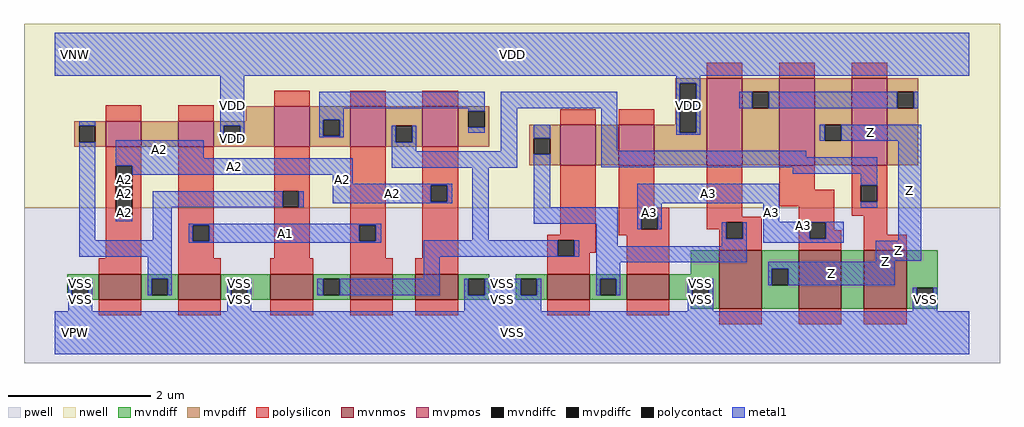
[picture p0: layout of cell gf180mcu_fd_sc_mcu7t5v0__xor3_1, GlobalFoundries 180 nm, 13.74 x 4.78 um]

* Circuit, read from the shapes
.subckt gf180mcu_fd_sc_mcu7t5v0__xor3_1 A1 A2 A3 Z VDD VNW VPW VSS
XM1 n1 A2 VSS VPW nfet_06v0 w=0.36u l=0.6u
XM2 VSS A1 n1 VPW nfet_06v0 w=0.36u l=0.6u
XM3 n2 n1 VSS VPW nfet_06v0 w=0.36u l=0.6u
XM4 n3 A1 n2 VPW nfet_06v0 w=0.36u l=0.6u
XM5 VSS A2 n3 VPW nfet_06v0 w=0.36u l=0.6u
XM6 n4 n2 VSS VPW nfet_06v0 w=0.36u l=0.6u
XM7 VSS A3 n4 VPW nfet_06v0 w=0.36u l=0.6u
XM8 Z n4 VSS VPW nfet_06v0 w=0.82u l=0.6u
XM9 n5 A3 Z VPW nfet_06v0 w=0.82u l=0.6u
XM10 VSS n2 n5 VPW nfet_06v0 w=0.82u l=0.6u
XM11 n6 A2 n1 VNW pfet_06v0 w=0.36u l=0.5u
XM12 VDD A1 n6 VNW pfet_06v0 w=0.36u l=0.5u
XM13 n7 n1 VDD VNW pfet_06v0 w=0.565u l=0.5u
XM14 n2 A1 n7 VNW pfet_06v0 w=0.565u l=0.5u
XM15 n7 A2 n2 VNW pfet_06v0 w=0.565u l=0.5u
XM16 n8 n2 n4 VNW pfet_06v0 w=0.565u l=0.5u
XM17 VDD A3 n8 VNW pfet_06v0 w=0.565u l=0.5u
XM18 n9 n4 VDD VNW pfet_06v0 w=1.22u l=0.5u
XM19 Z A3 n9 VNW pfet_06v0 w=1.22u l=0.5u
XM20 n9 n2 Z VNW pfet_06v0 w=1.22u l=0.5u
.ends

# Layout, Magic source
magic
tech gf180mcuD
magscale 1 10
<< nwell >>
rect -86 352 2662 870
<< pwell >>
rect -86 -86 2662 352
<< mvnmos >>
rect 124 93 244 165
rect 348 93 468 165
rect 608 93 728 165
rect 832 93 952 165
rect 1016 93 1136 165
rect 1387 93 1507 165
rect 1611 93 1731 165
rect 1871 68 1991 232
rect 2095 68 2215 232
rect 2279 68 2399 232
<< mvpmos >>
rect 144 524 244 596
rect 348 524 448 596
rect 618 524 718 637
rect 832 524 932 637
rect 1036 524 1136 637
rect 1424 472 1524 585
rect 1588 472 1688 585
rect 1836 472 1936 716
rect 2040 472 2140 716
rect 2244 472 2344 716
<< mvndiff >>
rect 1791 165 1871 232
rect 36 152 124 165
rect 36 106 49 152
rect 95 106 124 152
rect 36 93 124 106
rect 244 152 348 165
rect 244 106 273 152
rect 319 106 348 152
rect 244 93 348 106
rect 468 152 608 165
rect 468 106 497 152
rect 543 106 608 152
rect 468 93 608 106
rect 728 152 832 165
rect 728 106 757 152
rect 803 106 832 152
rect 728 93 832 106
rect 952 93 1016 165
rect 1136 152 1224 165
rect 1136 106 1165 152
rect 1211 106 1224 152
rect 1136 93 1224 106
rect 1299 152 1387 165
rect 1299 106 1312 152
rect 1358 106 1387 152
rect 1299 93 1387 106
rect 1507 152 1611 165
rect 1507 106 1536 152
rect 1582 106 1611 152
rect 1507 93 1611 106
rect 1731 152 1871 165
rect 1731 106 1796 152
rect 1842 106 1871 152
rect 1731 93 1871 106
rect 1791 68 1871 93
rect 1991 180 2095 232
rect 1991 134 2020 180
rect 2066 134 2095 180
rect 1991 68 2095 134
rect 2215 68 2279 232
rect 2399 127 2487 232
rect 2399 81 2428 127
rect 2474 81 2487 127
rect 2399 68 2487 81
<< mvpdiff >>
rect 1748 703 1836 716
rect 538 596 618 637
rect 56 583 144 596
rect 56 537 69 583
rect 115 537 144 583
rect 56 524 144 537
rect 244 524 348 596
rect 448 583 618 596
rect 448 537 477 583
rect 523 537 618 583
rect 448 524 618 537
rect 718 600 832 637
rect 718 554 757 600
rect 803 554 832 600
rect 718 524 832 554
rect 932 583 1036 637
rect 932 537 961 583
rect 1007 537 1036 583
rect 932 524 1036 537
rect 1136 624 1224 637
rect 1136 578 1165 624
rect 1211 578 1224 624
rect 1748 585 1761 703
rect 1136 524 1224 578
rect 1336 548 1424 585
rect 1336 502 1349 548
rect 1395 502 1424 548
rect 1336 472 1424 502
rect 1524 472 1588 585
rect 1688 563 1761 585
rect 1807 563 1836 703
rect 1688 472 1836 563
rect 1936 678 2040 716
rect 1936 632 1965 678
rect 2011 632 2040 678
rect 1936 472 2040 632
rect 2140 586 2244 716
rect 2140 540 2169 586
rect 2215 540 2244 586
rect 2140 472 2244 540
rect 2344 678 2432 716
rect 2344 632 2373 678
rect 2419 632 2432 678
rect 2344 472 2432 632
<< mvndiffc >>
rect 49 106 95 152
rect 273 106 319 152
rect 497 106 543 152
rect 757 106 803 152
rect 1165 106 1211 152
rect 1312 106 1358 152
rect 1536 106 1582 152
rect 1796 106 1842 152
rect 2020 134 2066 180
rect 2428 81 2474 127
<< mvpdiffc >>
rect 69 537 115 583
rect 477 537 523 583
rect 757 554 803 600
rect 961 537 1007 583
rect 1165 578 1211 624
rect 1349 502 1395 548
rect 1761 563 1807 703
rect 1965 632 2011 678
rect 2169 540 2215 586
rect 2373 632 2419 678
<< polysilicon >>
rect 1836 716 1936 760
rect 2040 716 2140 760
rect 2244 716 2344 760
rect 144 596 244 640
rect 348 596 448 640
rect 618 637 718 681
rect 832 637 932 681
rect 1036 637 1136 681
rect 1424 585 1524 629
rect 1588 585 1688 629
rect 144 470 244 524
rect 144 329 173 470
rect 219 329 244 470
rect 144 209 244 329
rect 124 165 244 209
rect 348 303 448 524
rect 348 257 389 303
rect 435 257 448 303
rect 348 209 448 257
rect 618 399 718 524
rect 618 353 642 399
rect 688 353 718 399
rect 618 209 718 353
rect 832 303 932 524
rect 832 257 858 303
rect 904 257 932 303
rect 832 209 932 257
rect 1036 415 1136 524
rect 1036 369 1059 415
rect 1105 369 1136 415
rect 1036 209 1136 369
rect 1424 276 1524 472
rect 348 165 468 209
rect 608 165 728 209
rect 832 165 952 209
rect 1016 165 1136 209
rect 1387 261 1524 276
rect 1588 352 1688 472
rect 1588 337 1731 352
rect 1588 291 1652 337
rect 1698 291 1731 337
rect 1836 326 1936 472
rect 2040 402 2140 472
rect 2244 415 2344 472
rect 2040 356 2195 402
rect 1836 311 1991 326
rect 1836 292 1891 311
rect 1588 275 1731 291
rect 1387 215 1417 261
rect 1463 225 1524 261
rect 1463 215 1507 225
rect 1387 165 1507 215
rect 1611 165 1731 275
rect 1871 265 1891 292
rect 1937 265 1991 311
rect 1871 232 1991 265
rect 2095 311 2195 356
rect 2244 369 2270 415
rect 2316 369 2344 415
rect 2244 330 2344 369
rect 2095 265 2126 311
rect 2172 288 2195 311
rect 2172 265 2215 288
rect 2095 232 2215 265
rect 2279 276 2344 330
rect 2279 232 2399 276
rect 124 49 244 93
rect 348 49 468 93
rect 608 49 728 93
rect 832 49 952 93
rect 1016 49 1136 93
rect 1387 49 1507 93
rect 1611 49 1731 93
rect 1871 24 1991 68
rect 2095 24 2215 68
rect 2279 24 2399 68
<< polycontact >>
rect 173 329 219 470
rect 389 257 435 303
rect 642 353 688 399
rect 858 257 904 303
rect 1059 369 1105 415
rect 1652 291 1698 337
rect 1417 215 1463 261
rect 1891 265 1937 311
rect 2270 369 2316 415
rect 2126 265 2172 311
<< metal1 >>
rect 0 724 2576 844
rect 69 583 115 596
rect 466 583 534 724
rect 1750 703 1818 724
rect 69 261 115 537
rect 173 491 420 542
rect 466 537 477 583
rect 523 537 534 583
rect 746 632 1211 678
rect 746 600 814 632
rect 746 554 757 600
rect 803 554 814 600
rect 1165 624 1211 632
rect 746 551 814 554
rect 950 537 961 583
rect 1007 537 1018 583
rect 1165 563 1211 578
rect 1257 632 1585 678
rect 950 511 1018 537
rect 1257 511 1303 632
rect 173 470 839 491
rect 219 445 839 470
rect 950 465 1303 511
rect 1349 548 1395 585
rect 783 419 839 445
rect 783 415 1120 419
rect 173 314 219 329
rect 277 353 642 399
rect 688 353 702 399
rect 783 369 1059 415
rect 1105 369 1120 415
rect 783 364 1120 369
rect 277 261 330 353
rect 69 214 330 261
rect 378 303 920 307
rect 378 257 389 303
rect 435 257 858 303
rect 904 257 920 303
rect 1176 261 1222 465
rect 1349 353 1395 502
rect 1539 512 1585 632
rect 1750 563 1761 703
rect 1807 563 1818 703
rect 1928 632 1965 678
rect 2011 632 2373 678
rect 2419 632 2432 678
rect 1750 558 1818 563
rect 2154 540 2169 586
rect 2215 540 2440 586
rect 1539 494 2117 512
rect 1539 466 2317 494
rect 2079 448 2317 466
rect 1641 365 2041 420
rect 1349 307 1586 353
rect 378 253 920 257
rect 262 152 330 214
rect 1039 215 1417 261
rect 1463 215 1478 261
rect 1039 214 1478 215
rect 1525 244 1586 307
rect 1641 337 1709 365
rect 1641 291 1652 337
rect 1698 291 1709 337
rect 1995 312 2041 365
rect 2270 415 2317 448
rect 2316 369 2317 415
rect 2270 352 2317 369
rect 1995 311 2222 312
rect 1879 265 1891 311
rect 1937 265 1949 311
rect 1879 244 1949 265
rect 1995 265 2126 311
rect 2172 265 2222 311
rect 1995 253 2222 265
rect 2376 259 2440 540
rect 1039 152 1085 214
rect 1525 198 1949 244
rect 2312 203 2440 259
rect 2312 200 2366 203
rect 1525 152 1593 198
rect 2009 180 2366 200
rect 38 106 49 152
rect 95 106 106 152
rect 262 106 273 152
rect 319 106 330 152
rect 486 106 497 152
rect 543 106 554 152
rect 740 106 757 152
rect 803 106 1085 152
rect 1154 106 1165 152
rect 1211 106 1312 152
rect 1358 106 1370 152
rect 1525 106 1536 152
rect 1582 106 1593 152
rect 1783 106 1796 152
rect 1842 106 1855 152
rect 2009 134 2020 180
rect 2066 134 2366 180
rect 38 60 106 106
rect 486 60 554 106
rect 1154 60 1370 106
rect 1783 60 1855 106
rect 2417 81 2428 127
rect 2474 81 2485 127
rect 2417 60 2485 81
rect 0 -60 2576 60
<< labels >>
flabel metal1 s 1641 365 2041 420 0 FreeSans 400 0 0 0 A3
port 3 nsew default input
flabel metal1 s 0 724 2576 844 0 FreeSans 400 0 0 0 VDD
port 5 nsew power bidirectional abutment
flabel metal1 s 1783 127 1855 152 0 FreeSans 400 0 0 0 VSS
port 8 nsew ground bidirectional abutment
flabel metal1 s 2154 540 2440 586 0 FreeSans 400 0 0 0 Z
port 4 nsew default output
flabel metal1 s 378 253 920 307 0 FreeSans 400 0 0 0 A1
port 1 nsew default input
flabel metal1 s 173 491 420 542 0 FreeSans 400 0 0 0 A2
port 2 nsew default input
flabel nwell s 10 734 110 834 0 FreeSans 400 0 0 0 VNW
port 6 nsew power bidirectional
flabel pwell s 10 -50 110 50 0 FreeSans 400 0 0 0 VPW
port 7 nsew ground bidirectional
rlabel metal1 s 173 445 839 491 1 A2
port 2 nsew default input
rlabel metal1 s 783 419 839 445 1 A2
port 2 nsew default input
rlabel metal1 s 173 419 219 445 1 A2
port 2 nsew default input
rlabel metal1 s 783 364 1120 419 1 A2
port 2 nsew default input
rlabel metal1 s 173 364 219 419 1 A2
port 2 nsew default input
rlabel metal1 s 173 314 219 364 1 A2
port 2 nsew default input
rlabel metal1 s 1995 312 2041 365 1 A3
port 3 nsew default input
rlabel metal1 s 1641 312 1709 365 1 A3
port 3 nsew default input
rlabel metal1 s 1995 291 2222 312 1 A3
port 3 nsew default input
rlabel metal1 s 1641 291 1709 312 1 A3
port 3 nsew default input
rlabel metal1 s 1995 253 2222 291 1 A3
port 3 nsew default input
rlabel metal1 s 2376 259 2440 540 1 Z
port 4 nsew default output
rlabel metal1 s 2312 203 2440 259 1 Z
port 4 nsew default output
rlabel metal1 s 2312 200 2366 203 1 Z
port 4 nsew default output
rlabel metal1 s 2009 134 2366 200 1 Z
port 4 nsew default output
rlabel metal1 s 1750 558 1818 724 1 VDD
port 5 nsew power bidirectional abutment
rlabel metal1 s 466 558 534 724 1 VDD
port 5 nsew power bidirectional abutment
rlabel metal1 s 466 537 534 558 1 VDD
port 5 nsew power bidirectional abutment
rlabel metal1 s 1154 127 1370 152 1 VSS
port 8 nsew ground bidirectional abutment
rlabel metal1 s 486 127 554 152 1 VSS
port 8 nsew ground bidirectional abutment
rlabel metal1 s 38 127 106 152 1 VSS
port 8 nsew ground bidirectional abutment
rlabel metal1 s 2417 60 2485 127 1 VSS
port 8 nsew ground bidirectional abutment
rlabel metal1 s 1783 60 1855 127 1 VSS
port 8 nsew ground bidirectional abutment
rlabel metal1 s 1154 60 1370 127 1 VSS
port 8 nsew ground bidirectional abutment
rlabel metal1 s 486 60 554 127 1 VSS
port 8 nsew ground bidirectional abutment
rlabel metal1 s 38 60 106 127 1 VSS
port 8 nsew ground bidirectional abutment
rlabel metal1 s 0 -60 2576 60 1 VSS
port 8 nsew ground bidirectional abutment
<< properties >>
string FIXED_BBOX 0 0 2576 784
string GDS_END 377154
string GDS_FILE $PDKPATH/libs.ref/gf180mcu_fd_sc_mcu7t5v0/gds/gf180mcu_fd_sc_mcu7t5v0.gds
string GDS_START 371090
string LEFclass core
string LEFsite GF018hv5v_mcu_sc7
string LEFsymmetry X Y
<< end >>
